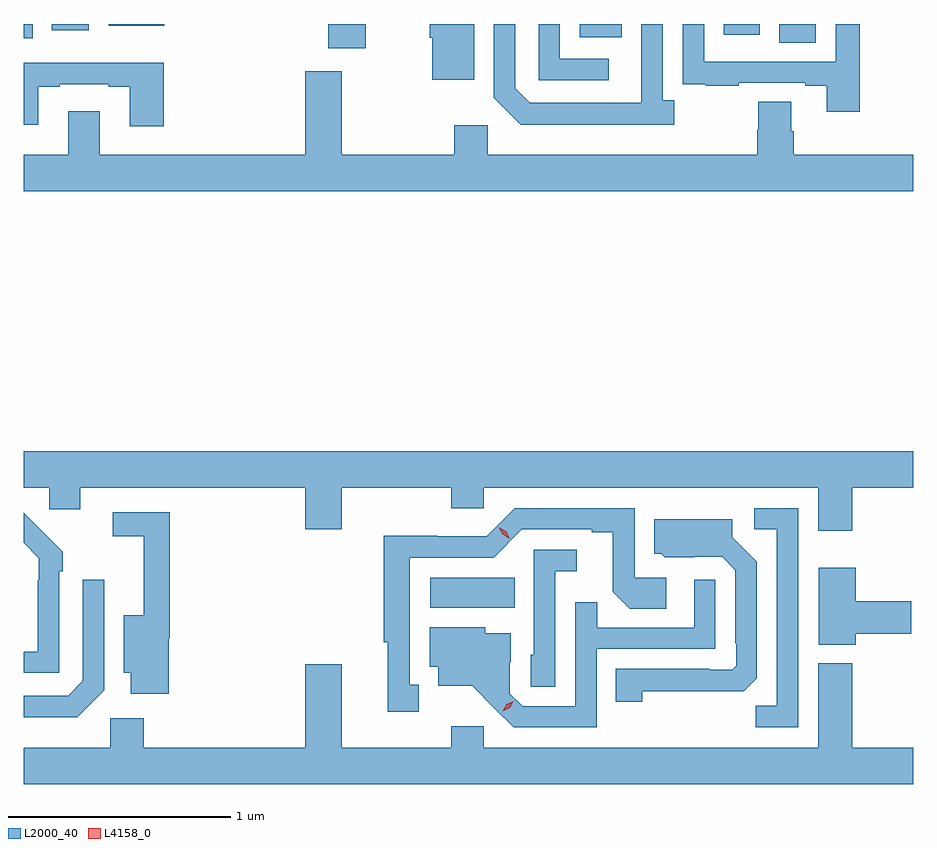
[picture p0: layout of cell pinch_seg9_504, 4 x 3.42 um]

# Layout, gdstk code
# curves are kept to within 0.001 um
import gdstk
lib = gdstk.Library(unit=1e-6, precision=1e-09)
def R(c, l, rs):  # rectangles x0, y0, x1, y1
    for r in rs: c.add(gdstk.rectangle(r[:2], r[2:], *l))
def P(c, l, *ps):  # polygons
    for p in ps: c.add(gdstk.Polygon(p, *l))
L2000_40 = (2000, 40)
L4158_0 = (4158, 0)

pinch_seg9_504 = lib.new_cell('pinch_seg9_504')
R(pinch_seg9_504, L2000_40, [(309.426,1197.212,309.806,1197.346), (308.966,1199.727,309.136,1199.836), (310.994,1199.752,311.158,1199.836), (307.597,1199.772,307.639,1199.836), (310.097,1199.777,310.285,1199.836), (310.745,1199.787,310.906,1199.836), (307.724,1199.808,307.891,1199.836), (307.979,1199.828,308.23,1199.836)])
P(pinch_seg9_504, L2000_40, [(311.356,1199.836),(311.247,1199.836),(311.247,1199.667),(310.656,1199.667),(310.656,1199.836),(310.56,1199.836),(310.56,1199.674),(310.561,1199.674),(310.561,1199.565),(310.663,1199.565),(310.663,1199.559),(310.811,1199.559),(310.811,1199.571),(311.111,1199.571),(311.111,1199.559),(311.207,1199.559),(311.207,1199.442),(311.356,1199.442)],
  [(309.622,1199.836),(309.422,1199.836),(309.422,1199.775),(309.434,1199.775),(309.434,1199.585),(309.622,1199.585)],
  [(310.522,1199.494),(310.47,1199.494),(310.47,1199.836),(310.374,1199.836),(310.373,1199.481),(309.873,1199.481),(309.807,1199.547),(309.807,1199.836),(309.711,1199.836),(309.711,1199.505),(309.832,1199.384),(310.522,1199.384)],
  [(310.228,1199.679),(310.008,1199.679),(310.008,1199.836),(309.912,1199.836),(309.912,1199.583),(310.228,1199.583)],
  [(308.228,1199.662),(307.597,1199.662),(307.597,1199.384),(307.663,1199.384),(307.663,1199.553),(307.759,1199.553),(307.759,1199.565),(307.979,1199.565),(307.979,1199.553),(308.075,1199.553),(308.075,1199.376),(308.228,1199.376)],
  [(311.597,1199.248),(311.06,1199.248),(311.06,1199.354),(311.047,1199.354),(311.047,1199.486),(310.9,1199.486),(310.9,1199.361),(310.895,1199.361),(310.895,1199.248),(309.684,1199.248),(309.684,1199.38),(309.533,1199.38),(309.533,1199.248),(309.028,1199.248),(309.028,1199.623),(308.864,1199.623),(308.864,1199.248),(307.939,1199.248),(307.939,1199.443),(307.799,1199.443),(307.799,1199.248),(307.597,1199.248),(307.597,1199.084),(311.597,1199.084)],
  [(311.321,1197.752),(311.597,1197.752),(311.597,1197.916),(307.597,1197.916),(307.597,1197.752),(307.713,1197.752),(307.713,1197.654),(307.852,1197.654),(307.852,1197.752),(308.864,1197.752),(308.864,1197.564),(309.028,1197.564),(309.028,1197.752),(309.52,1197.752),(309.52,1197.659),(309.666,1197.659),(309.666,1197.752),(311.168,1197.752),(311.168,1197.558),(311.321,1197.558)],
  [(311.079,1197.66),(310.881,1197.66),(310.881,1197.564),(310.983,1197.564),(310.983,1196.771),(310.888,1196.771),(310.888,1196.676),(311.079,1196.676)],
  [(309.373,1196.865),(309.334,1196.865),(309.334,1197.438),(309.711,1197.438),(309.837,1197.564),(310.151,1197.564),(310.151,1197.552),(310.245,1197.552),(310.245,1197.284),(310.321,1197.208),(310.486,1197.208),(310.486,1197.348),(310.344,1197.348),(310.344,1197.66),(309.804,1197.66),(309.678,1197.534),(309.456,1197.534),(309.456,1197.536),(309.216,1197.536),(309.216,1197.057),(309.233,1197.057),(309.233,1196.745),(309.373,1196.745)],
  [(308.249,1197.074),(308.255,1197.074),(308.255,1197.642),(307.998,1197.642),(307.998,1197.534),(308.138,1197.534),(308.138,1197.178),(308.048,1197.178),(308.048,1196.921),(308.078,1196.921),(308.078,1196.826),(308.249,1196.826)],
  [(307.758,1197.377),(307.773,1197.377),(307.773,1197.465),(307.597,1197.639),(307.597,1197.504),(307.665,1197.435),(307.665,1197.335),(307.662,1197.335),(307.662,1197.015),(307.597,1197.015),(307.597,1196.919),(307.758,1196.919)],
  [(310.377,1196.836),(310.834,1196.837),(310.893,1196.896),(310.893,1197.418),(310.783,1197.528),(310.783,1197.61),(310.433,1197.61),(310.433,1197.456),(310.464,1197.456),(310.48,1197.44),(310.737,1197.441),(310.797,1197.381),(310.797,1197.052),(310.8,1197.052),(310.8,1196.952),(310.782,1196.934),(310.682,1196.934),(310.682,1196.937),(310.258,1196.937),(310.258,1196.79),(310.377,1196.79)],
  [(309.987,1197.377),(310.084,1197.377),(310.084,1197.474),(309.891,1197.474),(309.891,1197),(309.876,1197),(309.876,1196.857),(309.987,1196.857)],
  [(311.338,1197.095),(311.587,1197.095),(311.587,1197.242),(311.338,1197.242),(311.338,1197.391),(311.171,1197.391),(311.171,1197.047),(311.338,1197.047)],
  [(310.173,1197.027),(310.707,1197.027),(310.707,1197.337),(310.611,1197.337),(310.611,1197.123),(310.175,1197.123),(310.175,1197.236),(310.077,1197.236),(310.077,1196.769),(309.84,1196.769),(309.783,1196.826),(309.783,1196.968),(309.787,1196.968),(309.787,1197.097),(309.672,1197.097),(309.672,1197.124),(309.422,1197.124),(309.422,1196.948),(309.461,1196.948),(309.461,1196.861),(309.613,1196.861),(309.8,1196.676),(310.173,1196.676)],
  [(307.959,1196.841),(307.959,1197.337),(307.863,1197.337),(307.863,1196.883),(307.797,1196.817),(307.597,1196.817),(307.597,1196.72),(307.838,1196.72)],
  [(311.597,1196.584),(311.321,1196.584),(311.321,1196.962),(311.168,1196.962),(311.168,1196.584),(309.666,1196.584),(309.666,1196.68),(309.52,1196.68),(309.52,1196.584),(309.028,1196.584),(309.028,1196.959),(308.864,1196.959),(308.864,1196.584),(308.138,1196.584),(308.138,1196.716),(307.986,1196.716),(307.986,1196.584),(307.597,1196.584),(307.597,1196.42),(311.597,1196.42)])
P(pinch_seg9_504, L4158_0, [(309.751,1196.748),(309.751,1196.748),(309.768,1196.778),(309.799,1196.793),(309.799,1196.793),(309.799,1196.793),(309.782,1196.763),(309.752,1196.748)],
  [(309.782,1197.523),(309.75,1197.542),(309.733,1197.574),(309.733,1197.574),(309.733,1197.574),(309.765,1197.556),(309.782,1197.523),(309.782,1197.523)])

lib.write_gds('pinch_seg9_504.gds')
